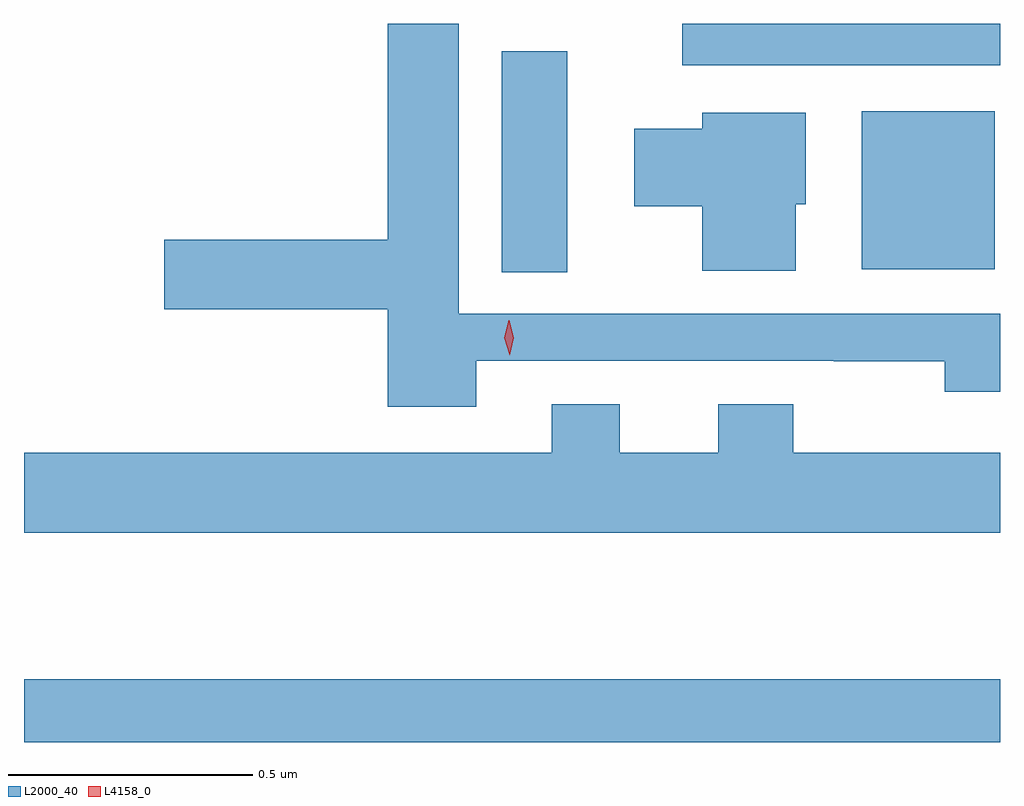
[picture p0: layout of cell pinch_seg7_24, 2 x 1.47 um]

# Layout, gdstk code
import gdstk
lib = gdstk.Library(unit=1e-6, precision=1e-09)
def R(c, l, rs):  # rectangles x0, y0, x1, y1
    for r in rs: c.add(gdstk.rectangle(r[:2], r[2:], *l))
def P(c, l, *ps):  # polygons
    for p in ps: c.add(gdstk.Polygon(p, *l))
L2000_40 = (2000, 40)
L4158_0 = (4158, 0)

pinch_seg7_24 = lib.new_cell('pinch_seg7_24')
R(pinch_seg7_24, L2000_40, [(1019.083,1062.79,1021.083,1062.919), (1020.062,1063.753,1020.196,1064.206), (1020.8,1063.76,1021.072,1064.083), (1020.432,1064.178,1021.083,1064.263)])
P(pinch_seg7_24, L2000_40, [(1020.01,1063.572),(1020.742,1063.572),(1020.742,1063.571),(1020.97,1063.571),(1020.97,1063.509),(1021.083,1063.509),(1021.083,1063.668),(1019.974,1063.668),(1019.974,1064.263),(1019.828,1064.263),(1019.828,1063.82),(1019.37,1063.82),(1019.37,1063.678),(1019.828,1063.678),(1019.828,1063.478),(1020.01,1063.478)],
  [(1020.664,1063.893),(1020.685,1063.893),(1020.685,1064.08),(1020.473,1064.08),(1020.473,1064.047),(1020.333,1064.047),(1020.333,1063.889),(1020.473,1063.889),(1020.473,1063.757),(1020.664,1063.757)],
  [(1021.083,1063.384),(1020.659,1063.384),(1020.659,1063.483),(1020.506,1063.483),(1020.506,1063.384),(1020.304,1063.384),(1020.304,1063.483),(1020.164,1063.483),(1020.164,1063.384),(1019.083,1063.384),(1019.083,1063.22),(1021.083,1063.22)])
P(pinch_seg7_24, L4158_0, [(1020.078,1063.583),(1020.078,1063.583),(1020.067,1063.619),(1020.076,1063.655),(1020.076,1063.655),(1020.077,1063.655),(1020.087,1063.619),(1020.078,1063.583)])

lib.write_gds('pinch_seg7_24.gds')
